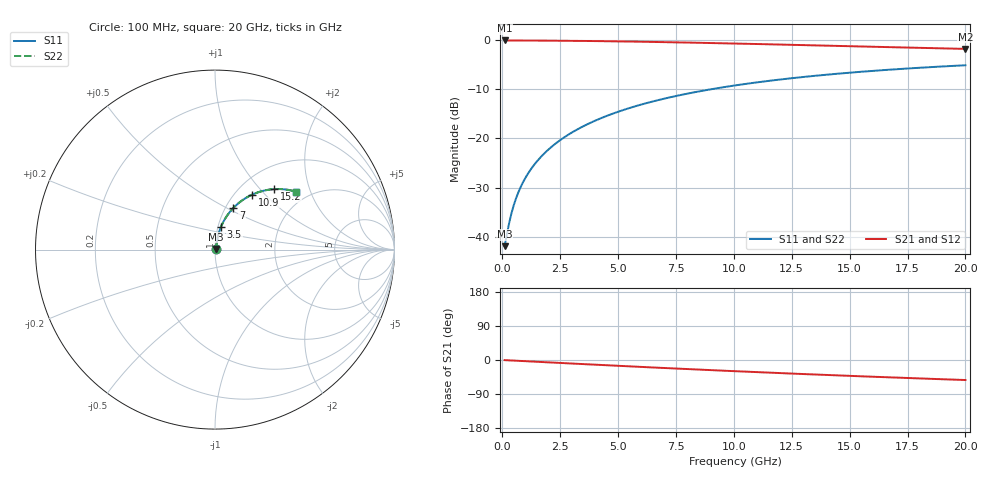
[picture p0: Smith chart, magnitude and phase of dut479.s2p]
! Touchstone file exported from HFSS 2026.1.0
!  File:  C:/ffzhzh/LocalFiles/Ansys_Project_Files/temp_train_BSMRDL_479_1783013809_55676.aedt
!  Generated:  01:38:12 AM Jul  3, 2026
!  Design:  BSMRDL
!  Project:  temp_train_BSMRDL_479_1783013809_55676
! Variables:
!  h_bsmrdl = 3.66um
!  h_ox = 20um
!  h_rdl = 5um
!  h_sub = 80um
!  h_tmrdl = 5um
!  h_tsv = 80um
!  h_via = 3um
!  l_bsmrdl = 753.66um
!  l_sub = 1153.66um
!  l_tmrdl = 200um
!  m_sub = 200um
!  pitch = 40.94um
!  r_tsv = 6um
!  s_tmrdl = 10um
!  w_bsmrdl = 10.45um
!  w_sub = 500um
!  w_tmrdl = 12um
!  x_tsv_center1 = 206um
!  x_tsv_center2 = 970.11um
!  x_tsv_center3 = 1182.11um
!  x_tsv_center4 = 1946.22um
!  x_tsv_center5 = 2158.22um
!  x_tsv_center6 = 2922.33um
# GHz S MA R 50.000000
! Terminal data exported
! Port[1] = BSM_RDL1_1_T1
! Port[2] = BSM_RDL1_1_T2
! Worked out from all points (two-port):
!   200 points, 100 MHz to 20 GHz, reference 50 ohm
!   highest |S21| = -0.06 dB at 100 MHz (marker M1); lowest = -1.8 dB at 20 GHz (marker M2)
!   |S21| within 3 dB of the highest: start of sweep to end of sweep
!   lowest |S11| = -41.9 dB at 100 MHz (marker M3), VSWR 1.02, Z = 50.7 + j0.403 ohm
!   |S11| at or under -10 dB: start of sweep to 9.006 GHz
!   |S22| runs from -41.9 to -5.1 dB; largest |S21 - S12| = 3.6e-15
!   S11 on the Smith chart (normalised r, x): 100 MHz: 1.01, +0.01; 3.5 GHz: 1.03, +0.27; 7 GHz: 1.09, +0.54; 10.9 GHz: 1.19, +0.85; 15.2 GHz: 1.38, +1.19; 20 GHz: 1.71, +1.60
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0.1  0.008007 29.7  0.9931 -0.3  0.9931 -0.3  0.008007 29.7
! Gamma 0 0 0 0
! Port Impedance 50 0 50 0
0.3  0.0139 58.4  0.9928 -1.0  0.9928 -1.0  0.0139 58.4
0.4  0.01744 64.4  0.9927 -1.3  0.9927 -1.3  0.01744 64.4
0.6  0.02479 70.7  0.9923 -1.9  0.9923 -1.9  0.02479 70.7
0.7  0.02852 72.5  0.9921 -2.2  0.9921 -2.2  0.02852 72.5
0.9  0.036 74.8  0.9917 -2.8  0.9917 -2.8  0.036 74.8
1.2  0.04727 76.6  0.991 -3.8  0.991 -3.8  0.04727 76.6
1.7  0.06608 77.6  0.9897 -5.3  0.9897 -5.3  0.06608 77.6
2.2  0.08486 77.4  0.988 -6.9  0.988 -6.9  0.08486 77.4
2.8  0.1072 76.6  0.9855 -8.7  0.9855 -8.7  0.1072 76.6
3.5  0.1331 75.2  0.9819 -10.8  0.9819 -10.8  0.1331 75.2
4.2  0.1584 73.5  0.9777 -13.0  0.9777 -13.0  0.1584 73.5
5  0.1868 71.5  0.9721 -15.3  0.9721 -15.3  0.1868 71.5
6.8  0.2477 66.7  0.9571 -20.6  0.9571 -20.6  0.2477 66.7
7  0.2542 66.1  0.9552 -21.2  0.9552 -21.2  0.2542 66.2
8.5  0.3011 62.1  0.9405 -25.3  0.9405 -25.3  0.3011 62.2
10.1  0.3476 58.0  0.9235 -29.7  0.9235 -29.7  0.3476 58.0
10.9  0.3694 56.0  0.9147 -31.8  0.9147 -31.8  0.3694 56.0
13.4  0.4315 49.9  0.8864 -38.1  0.8864 -38.1  0.4315 49.9
15.2  0.4708 45.7  0.866 -42.3  0.866 -42.3  0.4708 45.7
16.7  0.5003 42.4  0.8493 -45.8  0.8493 -45.8  0.5003 42.4
20  0.5553 35.5  0.8149 -52.8  0.8149 -52.8  0.5553 35.5
